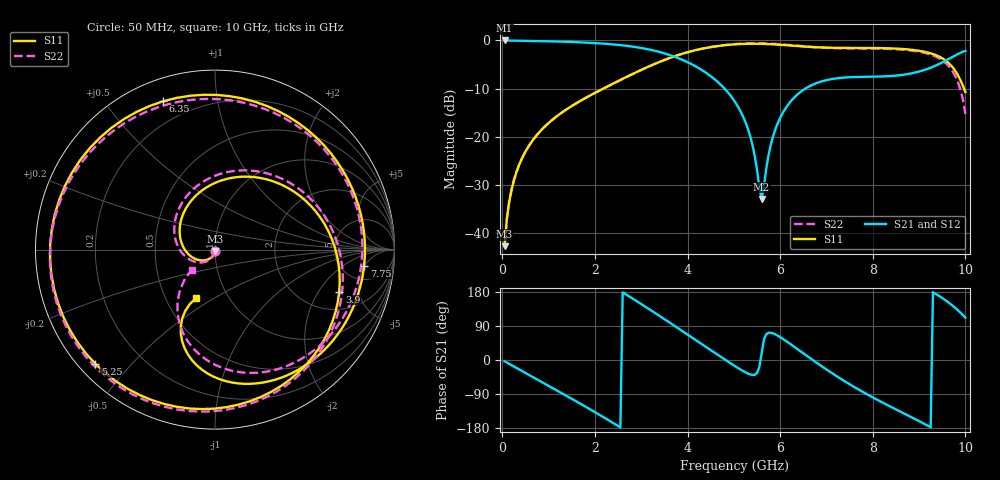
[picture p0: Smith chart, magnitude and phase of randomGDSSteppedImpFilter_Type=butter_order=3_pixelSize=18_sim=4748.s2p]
! freq	dB(S11)	phase(S11)	dB(S12)	phase(S12)
!  dB(S21)	phase(S21)	dB(S22)	phase(S22)
!S-par simulation data
#  GHz  S  DB  R 50
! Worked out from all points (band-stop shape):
!   200 points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, 50 MHz to 10 GHz, reference 50 ohm
!   highest |S21| = -0.01 dB at 50 MHz (marker M1); lowest = -32.9 dB at 5.6 GHz (marker M2)
!   |S21| within 3 dB of the highest: start of sweep to 3.608 GHz; 9.8 GHz to end of sweep
!   lowest |S11| = -42.7 dB at 50 MHz (marker M3), VSWR 1.01, Z = 50 - j0.733 ohm
!   |S11| at or under -10 dB: start of sweep to 2.177 GHz; 9.970699 GHz to end of sweep
!   |S22| runs from -42.7 to -0.6 dB; largest |S21 - S12| = 0
!   S11 on the Smith chart (normalised r, x): 50 MHz: 1.00, -0.01; 3.9 GHz: 3.11, -3.13; 5.25 GHz: 0.05, -0.40; 6.35 GHz: 0.10, +0.71; 7.75 GHz: 8.27, -4.86; 10 GHz: 0.70, -0.42
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0.05  -42.68 -91.9  -0.01 -3.4  -0.01 -3.4  -42.67 -90.4
0.2  -30.97 -104.0  -0.03 -13.6  -0.03 -13.6  -30.95 -101.5
0.5  -23.07 -127.2  -0.07 -33.9  -0.07 -33.9  -23.06 -121.0
1.15  -15.93 -175.4  -0.21 -78.1  -0.21 -78.1  -15.92 -162.6
1.75  -12.19 141.2  -0.43 -119.8  -0.43 -119.8  -12.20 157.3
2.55  -8.20 83.9  -0.97 -177.8  -0.97 -177.8  -8.22 98.4
2.95  -6.33 54.7  -1.48 151.6  -1.48 151.6  -6.36 66.5
3.4  -4.43 20.7  -2.41 116.0  -2.41 116.0  -4.45 29.3
3.9  -2.73 -18.7  -4.07 75.3  -4.07 75.3  -2.74 -12.6
4.55  -1.31 -72.7  -7.78 22.1  -7.78 22.1  -1.29 -66.5
5.05  -0.79 -117.3  -13.12 -18.1  -13.12 -18.1  -0.73 -107.4
5.25  -0.71 -136.4  -16.93 -32.6  -16.93 -32.6  -0.63 -123.8
5.6  -0.71 -171.5  -32.87 18.3  -32.87 18.3  -0.60 -153.1
5.9  -0.84 156.9  -18.36 67.4  -18.36 67.4  -0.72 -178.6
6.35  -1.16 109.2  -11.42 30.9  -11.42 30.9  -1.08 142.6
6.7  -1.38 74.5  -9.19 0.2  -9.19 0.2  -1.36 112.5
7.2  -1.54 31.8  -7.89 -41.1  -7.89 -41.1  -1.61 70.5
7.75  -1.56 -6.1  -7.56 -81.8  -7.56 -81.8  -1.68 27.2
8.35  -1.64 -40.0  -7.41 -121.1  -7.41 -121.1  -1.77 -15.2
9.25  -2.68 -85.5  -5.66 -177.7  -5.66 -177.7  -2.94 -74.6
9.75  -5.89 -112.0  -3.26 140.7  -3.26 140.7  -6.82 -115.7
10  -10.70 -111.5  -2.17 111.9  -2.17 111.9  -15.25 -139.1
